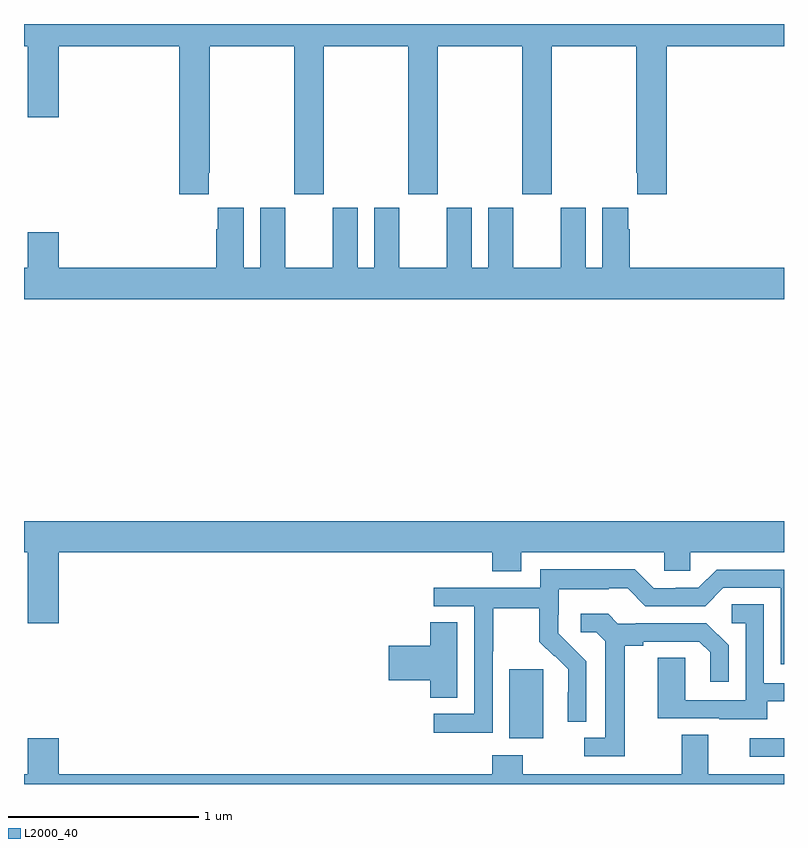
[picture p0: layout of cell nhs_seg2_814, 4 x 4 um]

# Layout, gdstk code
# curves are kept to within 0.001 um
import gdstk
lib = gdstk.Library(unit=1e-6, precision=1e-09)
def R(c, l, rs):  # rectangles x0, y0, x1, y1
    for r in rs: c.add(gdstk.rectangle(r[:2], r[2:], *l))
def P(c, l, *ps):  # polygons
    for p in ps: c.add(gdstk.Polygon(p, *l))
L2000_40 = (2000, 40)

nhs_seg2_814 = lib.new_cell('nhs_seg2_814')
R(nhs_seg2_814, L2000_40, [(156.819,595.944,157,596.04), (155.555,596.042,155.734,596.403)])
P(nhs_seg2_814, L2000_40, [(153.973,599.017),(153.978,599.017),(153.978,599.684),(154.423,599.684),(154.423,598.905),(154.578,598.905),(154.578,599.684),(155.023,599.684),(155.023,598.905),(155.178,598.905),(155.178,599.684),(155.623,599.684),(155.623,598.905),(155.778,598.905),(155.778,599.684),(156.223,599.684),(156.223,599.017),(156.227,599.017),(156.227,598.905),(156.383,598.905),(156.383,599.684),(157,599.684),(157,599.8),(153,599.8),(153,599.684),(153.02,599.684),(153.02,599.31),(153.184,599.31),(153.184,599.684),(153.818,599.684),(153.818,598.905),(153.973,598.905)],
  [(157,598.516),(156.188,598.516),(156.188,598.721),(156.181,598.721),(156.181,598.834),(156.044,598.834),(156.044,598.516),(155.956,598.516),(155.956,598.834),(155.825,598.834),(155.825,598.516),(155.575,598.516),(155.575,598.834),(155.444,598.834),(155.444,598.516),(155.356,598.516),(155.356,598.834),(155.225,598.834),(155.225,598.516),(154.975,598.516),(154.975,598.834),(154.844,598.834),(154.844,598.516),(154.756,598.516),(154.756,598.834),(154.625,598.834),(154.625,598.516),(154.375,598.516),(154.375,598.834),(154.244,598.834),(154.244,598.516),(154.156,598.516),(154.156,598.834),(154.019,598.834),(154.019,598.721),(154.013,598.721),(154.013,598.516),(153.184,598.516),(153.184,598.705),(153.02,598.705),(153.02,598.516),(153,598.516),(153,598.352),(157,598.352)],
  [(153.184,597.02),(155.465,597.02),(155.465,596.921),(155.617,596.921),(155.617,597.02),(156.369,597.02),(156.369,596.922),(156.507,596.922),(156.507,597.02),(157,597.02),(157,597.184),(153,597.184),(153,597.02),(153.02,597.02),(153.02,596.646),(153.184,596.646)],
  [(155.466,596.5),(155.469,596.5),(155.469,596.724),(155.713,596.724),(155.713,596.549),(155.79,596.472),(155.793,596.475),(155.864,596.405),(155.864,596.282),(155.862,596.282),(155.862,596.128),(155.958,596.128),(155.958,596.446),(155.812,596.594),(155.812,596.691),(155.814,596.691),(155.814,596.825),(156.077,596.825),(156.077,596.829),(156.177,596.829),(156.27,596.736),(156.585,596.736),(156.681,596.832),(156.984,596.832),(156.984,596.43),(157,596.43),(157,596.928),(156.645,596.928),(156.549,596.832),(156.431,596.832),(156.431,596.829),(156.315,596.829),(156.215,596.929),(155.718,596.929),(155.718,596.832),(155.157,596.832),(155.157,596.736),(155.37,596.736),(155.37,596.169),(155.157,596.169),(155.157,596.071),(155.466,596.071)],
  [(156.913,596.235),(157,596.235),(157,596.331),(156.894,596.331),(156.894,596.747),(156.726,596.747),(156.726,596.646),(156.798,596.646),(156.798,596.241),(156.48,596.241),(156.48,596.465),(156.335,596.465),(156.335,596.145),(156.659,596.145),(156.659,596.141),(156.913,596.141)],
  [(156.163,596.528),(156.259,596.528),(156.259,596.55),(156.554,596.55),(156.611,596.493),(156.611,596.337),(156.708,596.337),(156.708,596.53),(156.592,596.646),(156.22,596.646),(156.22,596.643),(156.126,596.643),(156.074,596.695),(155.931,596.695),(155.931,596.598),(156.012,596.598),(156.059,596.551),(156.059,596.043),(155.949,596.043),(155.949,595.947),(156.163,595.947)],
  [(155.281,596.651),(155.138,596.651),(155.138,596.528),(154.92,596.528),(154.92,596.345),(155.138,596.345),(155.138,596.254),(155.281,596.254)],
  [(157,595.852),(156.601,595.852),(156.601,596.06),(156.461,596.06),(156.461,595.852),(155.625,595.852),(155.625,595.951),(155.465,595.951),(155.465,595.852),(153.184,595.852),(153.184,596.041),(153.02,596.041),(153.02,595.852),(153,595.852),(153,595.8),(157,595.8)])

lib.write_gds('nhs_seg2_814.gds')
